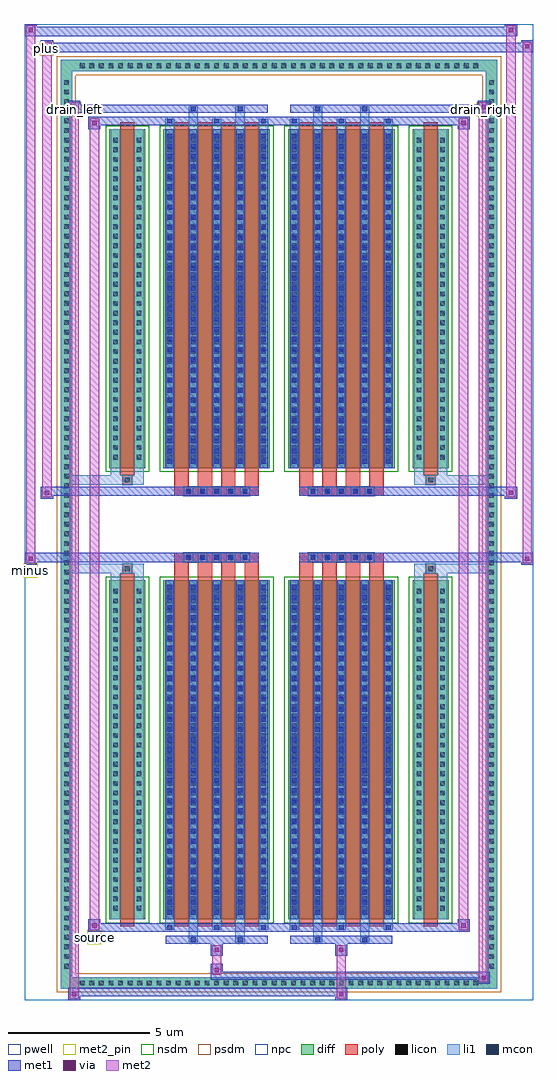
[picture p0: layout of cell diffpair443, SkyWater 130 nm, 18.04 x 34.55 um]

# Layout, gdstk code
import gdstk
lib = gdstk.Library(unit=1e-6, precision=5e-09)
def R(c, l, rs):  # rectangles x0, y0, x1, y1
    for r in rs: c.add(gdstk.rectangle(r[:2], r[2:], *l))
def A(c, l, x, y, w, h, nx, ny, dx, dy):  # array of equal rectangles
    R(c, l, [(x+i*dx, y+j*dy, x+i*dx+w, y+j*dy+h) for i in range(nx) for j in range(ny)])
def P(c, l, *ps):  # polygons
    for p in ps: c.add(gdstk.Polygon(p, *l))
pwell = (64, 44)
diff = (65, 20)
poly = (66, 20)
licon = (66, 44)
li1 = (67, 20)
mcon = (67, 44)
met1 = (68, 20)
via = (68, 44)
met2_pin = (69, 16)
met2 = (69, 20)
nsdm = (93, 44)
psdm = (94, 20)
npc = (95, 20)

diffpair443 = lib.new_cell('diffpair443')
R(diffpair443, pwell, [(-9,-16.84,9,17.71), (-6.32,-15.03,-0.01,-0.805), (0.01,-15.03,6.32,-0.805), (-6.32,0.805,-0.01,15.03), (0.01,0.805,6.32,15.03)])
A(diffpair443, diff, -7.175, -16.44, 0.41, 0.41, 42, 2, 0.34, 32.47)
A(diffpair443, diff, -7.73, -15.845, 0.41, 0.41, 1, 93, 0, 0.34)
A(diffpair443, diff, 7.32, -15.845, 0.41, 0.41, 1, 93, 0, 0.34)
R(diffpair443, diff, [(-7.175,-16.44,7.175,-16.03), (-7.73,-15.845,-7.32,15.845), (7.32,-15.845,7.73,15.845), (-6.01,-13.985,-4.73,-1.985), (-4.09,-13.985,-0.32,-1.985), (0.32,-13.985,4.09,-1.985), (4.73,-13.985,6.01,-1.985), (-6.01,1.985,-4.73,13.985), (-4.09,1.985,-0.32,13.985), (0.32,1.985,4.09,13.985), (4.73,1.985,6.01,13.985), (-7.175,16.03,7.175,16.44)])
P(diffpair443, diff, [(7.73,16.44),(-7.73,16.44),(-7.73,-16.03),(-7.32,-16.03),(-7.32,16.03),(7.32,16.03),(7.32,-16.03),(-7.32,-16.03),(-7.73,-16.03),(-7.73,-16.44),(7.73,-16.44)])
A(diffpair443, poly, -3.7, -14.235, 0.5, 12.5, 4, 2, 0.83, 15.97)
A(diffpair443, poly, 0.71, -14.235, 0.5, 12.5, 4, 2, 0.83, 15.97)
A(diffpair443, poly, -3.7, -1.735, 0.5, 0.4, 4, 2, 0.83, 3.07)
A(diffpair443, poly, 0.71, -1.735, 0.5, 0.4, 4, 2, 0.83, 3.07)
A(diffpair443, poly, -3.37, -1.335, 0.33, 0.33, 5, 2, 0.5, 2.34)
A(diffpair443, poly, 1.04, -1.335, 0.33, 0.33, 5, 2, 0.5, 2.34)
R(diffpair443, poly, [(-5.62,-14.235,-5.12,-1.735), (5.12,-14.235,5.62,-1.735), (-5.535,-1.735,-5.205,-1.405), (-5.535,-1.735,-5.205,-1.405), (5.205,-1.735,5.535,-1.405), (5.205,-1.735,5.535,-1.405), (-3.7,-1.335,-0.71,-1.005), (0.71,-1.335,3.7,-1.005), (-3.7,1.005,-0.71,1.335), (0.71,1.005,3.7,1.335), (-5.535,1.405,-5.205,1.735), (-5.535,1.405,-5.205,1.735), (5.205,1.405,5.535,1.735), (5.205,1.405,5.535,1.735), (-5.62,1.735,-5.12,14.235), (5.12,1.735,5.62,14.235)])
A(diffpair443, licon, -7.055, -16.32, 0.17, 0.17, 42, 2, 0.34, 32.47)
A(diffpair443, licon, -7.61, -15.725, 0.17, 0.17, 1, 93, 0, 0.34)
A(diffpair443, licon, 7.44, -15.725, 0.17, 0.17, 1, 93, 0, 0.34)
A(diffpair443, licon, -5.87, -13.68, 0.17, 0.17, 1, 34, 0, 0.34)
A(diffpair443, licon, -5.04, -13.68, 0.17, 0.17, 1, 34, 0, 0.34)
A(diffpair443, licon, -3.95, -13.68, 0.17, 0.17, 5, 34, 0.83, 0.34)
A(diffpair443, licon, 0.46, -13.68, 0.17, 0.17, 5, 34, 0.83, 0.34)
A(diffpair443, licon, 4.87, -13.68, 0.17, 0.17, 1, 34, 0, 0.34)
A(diffpair443, licon, 5.7, -13.68, 0.17, 0.17, 1, 34, 0, 0.34)
A(diffpair443, licon, -3.29, -1.255, 0.17, 0.17, 5, 2, 0.5, 2.34)
A(diffpair443, licon, 1.12, -1.255, 0.17, 0.17, 5, 2, 0.5, 2.34)
A(diffpair443, licon, -5.87, 2.29, 0.17, 0.17, 1, 34, 0, 0.34)
A(diffpair443, licon, -5.04, 2.29, 0.17, 0.17, 1, 34, 0, 0.34)
A(diffpair443, licon, -3.95, 2.29, 0.17, 0.17, 5, 34, 0.83, 0.34)
A(diffpair443, licon, 0.46, 2.29, 0.17, 0.17, 5, 34, 0.83, 0.34)
A(diffpair443, licon, 4.87, 2.29, 0.17, 0.17, 1, 34, 0, 0.34)
A(diffpair443, licon, 5.7, 2.29, 0.17, 0.17, 1, 34, 0, 0.34)
R(diffpair443, licon, [(-5.455,-1.655,-5.285,-1.485), (5.285,-1.655,5.455,-1.485), (-5.455,1.485,-5.285,1.655), (5.285,1.485,5.455,1.655)])
A(diffpair443, li1, -7.135, -16.4, 0.33, 0.33, 42, 2, 0.34, 32.47)
A(diffpair443, li1, -7.69, -15.805, 0.33, 0.33, 1, 93, 0, 0.34)
A(diffpair443, li1, 7.36, -15.805, 0.33, 0.33, 1, 93, 0, 0.34)
A(diffpair443, li1, -4.03, -14.36, 0.33, 0.375, 3, 2, 1.66, 28.345)
A(diffpair443, li1, -3.95, -14.36, 0.17, 0.17, 3, 2, 1.66, 28.55)
A(diffpair443, li1, 0.38, -14.36, 0.33, 0.375, 3, 2, 1.66, 28.345)
A(diffpair443, li1, 0.46, -14.36, 0.17, 0.17, 3, 2, 1.66, 28.55)
A(diffpair443, li1, -4.03, -13.985, 0.33, 12, 5, 2, 0.83, 15.97)
A(diffpair443, li1, 0.38, -13.985, 0.33, 12, 5, 2, 0.83, 15.97)
A(diffpair443, li1, -3.95, -13.83, 0.17, 0.17, 5, 33, 0.83, 0.36)
A(diffpair443, li1, -3.95, -13.83, 0.17, 11.69, 5, 2, 0.83, 15.97)
A(diffpair443, li1, 0.46, -13.83, 0.17, 0.17, 5, 33, 0.83, 0.36)
A(diffpair443, li1, 0.46, -13.83, 0.17, 11.69, 5, 2, 0.83, 15.97)
A(diffpair443, li1, -5.95, -13.76, 0.33, 0.33, 1, 34, 0, 0.34)
A(diffpair443, li1, -5.12, -13.76, 0.33, 0.33, 1, 34, 0, 0.34)
A(diffpair443, li1, -4.03, -13.76, 0.33, 0.33, 5, 34, 0.83, 0.34)
A(diffpair443, li1, 0.38, -13.76, 0.33, 0.33, 5, 34, 0.83, 0.34)
A(diffpair443, li1, 4.79, -13.76, 0.33, 0.33, 1, 34, 0, 0.34)
A(diffpair443, li1, 5.62, -13.76, 0.33, 0.33, 1, 34, 0, 0.34)
A(diffpair443, li1, -3.37, -1.335, 0.33, 0.33, 5, 2, 0.5, 2.34)
A(diffpair443, li1, 1.04, -1.335, 0.33, 0.33, 5, 2, 0.5, 2.34)
A(diffpair443, li1, -3.95, 2.14, 0.17, 0.17, 5, 33, 0.83, 0.36)
A(diffpair443, li1, 0.46, 2.14, 0.17, 0.17, 5, 33, 0.83, 0.36)
A(diffpair443, li1, -5.95, 2.21, 0.33, 0.33, 1, 34, 0, 0.34)
A(diffpair443, li1, -5.12, 2.21, 0.33, 0.33, 1, 34, 0, 0.34)
A(diffpair443, li1, -4.03, 2.21, 0.33, 0.33, 5, 34, 0.83, 0.34)
A(diffpair443, li1, 0.38, 2.21, 0.33, 0.33, 5, 34, 0.83, 0.34)
A(diffpair443, li1, 4.79, 2.21, 0.33, 0.33, 1, 34, 0, 0.34)
A(diffpair443, li1, 5.62, 2.21, 0.33, 0.33, 1, 34, 0, 0.34)
R(diffpair443, li1, [(-7.73,-16.44,-7.32,-16.03), (-7.73,-16.44,-7.32,-16.03), (-7.32,-16.44,7.32,-16.03), (7.32,-16.44,7.73,-16.03), (7.32,-16.44,7.73,-16.03), (-7.73,-16.03,-7.32,16.03), (7.32,-16.03,7.73,16.03), (-3.2,-14.79,-2.87,-13.985), (-3.12,-14.79,-2.95,-14.62), (-1.54,-14.79,-1.21,-13.985), (-1.46,-14.79,-1.29,-14.62), (1.21,-14.79,1.54,-13.985), (1.29,-14.79,1.46,-14.62), (2.87,-14.79,3.2,-13.985), (2.95,-14.79,3.12,-14.62), (-5.95,-13.985,-5.62,-1.985), (-5.12,-13.985,-4.79,-1.985), (4.79,-13.985,5.12,-1.985), (5.62,-13.985,5.95,-1.985), (-5.95,-1.985,-5.62,-1.405), (-5.12,-1.985,-4.79,-1.405), (4.79,-1.985,5.12,-1.405), (5.62,-1.985,5.95,-1.405), (-7.73,-1.735,-5.535,-1.405), (-5.95,-1.735,-5.535,-1.405), (-5.535,-1.735,-5.205,-1.405), (-5.205,-1.735,-4.79,-1.405), (4.79,-1.735,5.205,-1.405), (5.205,-1.735,5.535,-1.405), (5.205,-1.735,7.73,-1.405), (5.535,-1.735,5.95,-1.405), (-7.73,1.405,-5.535,1.735), (-5.95,1.405,-5.535,1.735), (-5.95,1.405,-5.62,1.985), (-5.535,1.405,-5.205,1.735), (-5.205,1.405,-4.79,1.735), (-5.12,1.405,-4.79,1.985), (4.79,1.405,5.205,1.735), (4.79,1.405,5.12,1.985), (5.205,1.405,5.535,1.735), (5.205,1.405,7.73,1.735), (5.535,1.405,5.95,1.735), (5.62,1.405,5.95,1.985), (-5.95,1.985,-5.62,13.985), (-5.12,1.985,-4.79,13.985), (4.79,1.985,5.12,13.985), (5.62,1.985,5.95,13.985), (-3.2,13.985,-2.87,14.79), (-1.54,13.985,-1.21,14.79), (1.21,13.985,1.54,14.79), (2.87,13.985,3.2,14.79), (-3.12,14.62,-2.95,14.79), (-1.46,14.62,-1.29,14.79), (1.29,14.62,1.46,14.79), (2.95,14.62,3.12,14.79), (-7.73,16.03,-7.32,16.44), (-7.73,16.03,-7.32,16.44), (-7.32,16.03,7.32,16.44), (7.32,16.03,7.73,16.44), (7.32,16.03,7.73,16.44)])
A(diffpair443, mcon, -3.95, -14.36, 0.17, 0.17, 3, 2, 1.66, 28.55)
A(diffpair443, mcon, 0.46, -14.36, 0.17, 0.17, 3, 2, 1.66, 28.55)
A(diffpair443, mcon, -3.95, -13.83, 0.17, 0.17, 5, 33, 0.83, 0.36)
A(diffpair443, mcon, 0.46, -13.83, 0.17, 0.17, 5, 33, 0.83, 0.36)
A(diffpair443, mcon, -3.29, -1.255, 0.17, 0.17, 5, 2, 0.5, 2.34)
A(diffpair443, mcon, 1.12, -1.255, 0.17, 0.17, 5, 2, 0.5, 2.34)
A(diffpair443, mcon, -3.95, 2.14, 0.17, 0.17, 5, 33, 0.83, 0.36)
A(diffpair443, mcon, 0.46, 2.14, 0.17, 0.17, 5, 33, 0.83, 0.36)
R(diffpair443, mcon, [(-3.12,-14.79,-2.95,-14.62), (-1.46,-14.79,-1.29,-14.62), (1.29,-14.79,1.46,-14.62), (2.95,-14.79,3.12,-14.62), (-3.12,14.62,-2.95,14.79), (-1.46,14.62,-1.29,14.79), (1.29,14.62,1.46,14.79), (2.95,14.62,3.12,14.79)])
A(diffpair443, met1, -4.01, -14.42, 0.29, 0.29, 3, 2, 1.66, 28.55)
A(diffpair443, met1, 0.4, -14.42, 0.29, 0.29, 3, 2, 1.66, 28.55)
A(diffpair443, met1, -4.01, -13.985, 0.29, 12, 5, 2, 0.83, 15.97)
A(diffpair443, met1, 0.4, -13.985, 0.29, 12, 5, 2, 0.83, 15.97)
A(diffpair443, met1, -4.01, -13.89, 0.29, 0.29, 5, 33, 0.83, 0.36)
A(diffpair443, met1, 0.4, -13.89, 0.29, 0.29, 5, 33, 0.83, 0.36)
A(diffpair443, met1, -3.35, -1.315, 0.29, 0.29, 5, 2, 0.5, 2.34)
A(diffpair443, met1, 1.06, -1.315, 0.29, 0.29, 5, 2, 0.5, 2.34)
A(diffpair443, met1, -4.01, 2.08, 0.29, 0.29, 5, 33, 0.83, 0.36)
A(diffpair443, met1, 0.4, 2.08, 0.29, 0.29, 5, 33, 0.83, 0.36)
R(diffpair443, met1, [(-7.46,-16.84,-7.03,-16.41), (1.99,-16.84,2.42,-16.41), (-7.46,-16.7,2.42,-16.41), (7.03,-16.27,7.46,-15.84), (-2.42,-16.13,7.46,-15.84), (-2.42,-15.99,-1.99,-15.56), (-2.42,-15.28,-1.99,-14.85), (1.99,-15.28,2.42,-14.85), (-4.01,-14.85,-0.4,-14.56), (-3.18,-14.85,-2.89,-14.56), (-1.52,-14.85,-1.23,-14.56), (0.4,-14.85,4.01,-14.56), (1.23,-14.85,1.52,-14.56), (2.89,-14.85,3.18,-14.56), (-6.75,-14.42,-6.32,-13.99), (-6.75,-14.42,-4.01,-14.13), (-4.01,-14.42,-0.4,-14.13), (-0.4,-14.42,0.4,-14.13), (0.4,-14.42,4.01,-14.13), (4.01,-14.42,6.75,-14.13), (6.32,-14.42,6.75,-13.99), (-9,-1.435,-8.57,-1.005), (8.57,-1.435,9,-1.005), (-9,-1.335,-0.71,-1.005), (-3.7,-1.335,-0.71,-1.005), (0.71,-1.335,3.7,-1.005), (0.71,-1.335,9,-1.005), (-8.43,0.905,-8,1.335), (8,0.905,8.43,1.335), (-8.43,1.005,-3.7,1.335), (-3.7,1.005,-0.71,1.335), (0.71,1.005,3.7,1.335), (3.7,1.005,8.43,1.335), (-6.75,13.99,-6.32,14.42), (6.32,13.99,6.75,14.42), (-6.75,14.13,-4.01,14.42), (-4.01,14.13,-0.4,14.42), (-0.4,14.13,0.4,14.42), (0.4,14.13,4.01,14.42), (4.01,14.13,6.75,14.42), (-7.46,14.56,-7.03,14.99), (-7.46,14.56,-4.01,14.85), (-4.01,14.56,-0.4,14.85), (-3.18,14.56,-2.89,14.85), (-1.52,14.56,-1.23,14.85), (0.4,14.56,4.01,14.85), (1.23,14.56,1.52,14.85), (2.89,14.56,3.18,14.85), (4.01,14.56,7.46,14.85), (7.03,14.56,7.46,14.99), (-8.43,16.71,-8,17.14), (-8.43,16.71,-6.32,17.04), (-6.32,16.71,6.32,17.04), (6.32,16.71,9,17.04), (8.57,16.71,9,17.14), (-9,17.28,-8.57,17.71), (-9,17.28,-6.32,17.61), (-6.32,17.28,6.32,17.61), (6.32,17.28,8.43,17.61), (8,17.28,8.43,17.71)])
R(diffpair443, via, [(-7.32,-16.7,-7.17,-16.55), (2.13,-16.7,2.28,-16.55), (7.17,-16.13,7.32,-15.98), (-2.28,-15.85,-2.13,-15.7), (-2.28,-15.14,-2.13,-14.99), (2.13,-15.14,2.28,-14.99), (-6.61,-14.28,-6.46,-14.13), (6.46,-14.28,6.61,-14.13), (-8.86,-1.295,-8.71,-1.145), (8.71,-1.295,8.86,-1.145), (-8.29,1.045,-8.14,1.195), (8.14,1.045,8.29,1.195), (-6.61,14.13,-6.46,14.28), (6.46,14.13,6.61,14.28), (-7.32,14.7,-7.17,14.85), (7.17,14.7,7.32,14.85), (-8.29,16.85,-8.14,17), (8.71,16.85,8.86,17), (-8.86,17.42,-8.71,17.57), (8.14,17.42,8.29,17.57)])
R(diffpair443, met2_pin, [(-6.785,-14.87,-6.285,-14.37), (-9.035,-1.885,-8.535,-1.385), (-7.495,14.44,-6.995,14.94), (6.995,14.44,7.495,14.94), (-8.465,16.59,-7.965,17.09)])
R(diffpair443, met2, [(-7.41,-16.79,-7.08,-16.46), (-7.41,-16.79,-7.08,14.94), (2.04,-16.79,2.37,-16.46), (2.04,-16.46,2.37,-15.23), (7.08,-16.22,7.41,-15.89), (7.08,-16.22,7.41,14.94), (-2.37,-15.94,-2.04,-15.61), (-2.37,-15.61,-2.04,-15.23), (-2.37,-15.23,-2.04,-14.9), (2.04,-15.23,2.37,-14.9), (-6.7,-14.37,-6.37,-14.04), (-6.7,-14.37,-6.37,14.37), (6.37,-14.37,6.7,-14.04), (6.37,-14.37,6.7,14.37), (-8.95,-1.385,-8.62,-1.055), (-8.95,-1.385,-8.62,17.66), (8.62,-1.385,8.95,-1.055), (8.62,-1.385,8.95,17.09), (-8.38,0.955,-8.05,1.285), (-8.38,0.955,-8.05,17.09), (8.05,0.955,8.38,1.285), (8.05,0.955,8.38,17.66), (-6.7,14.04,-6.37,14.37), (6.37,14.04,6.7,14.37), (-7.41,14.61,-7.08,14.94), (7.08,14.61,7.41,14.94), (-8.38,16.76,-8.05,17.09), (8.62,16.76,8.95,17.09), (-8.95,17.33,-8.62,17.66), (8.05,17.33,8.38,17.66)])
P(diffpair443, met2, [(8.95,-1.385),(8.95,-1.385),(8.95,-1.055),(8.95,-1.055)],
  [(8.95,16.76),(8.95,16.76),(8.95,17.09),(8.95,17.09)],
  [(-8.62,-1.385),(-8.62,-1.385),(-8.62,-1.055),(-8.62,-1.055)],
  [(-8.62,17.33),(-8.62,17.33),(-8.62,17.66),(-8.62,17.66)],
  [(8.38,0.955),(8.38,0.955),(8.38,1.285),(8.38,1.285)],
  [(8.38,17.33),(8.38,17.33),(8.38,17.66),(8.38,17.66)],
  [(-8.05,0.955),(-8.05,0.955),(-8.05,1.285),(-8.05,1.285)],
  [(-8.05,16.76),(-8.05,16.76),(-8.05,17.09),(-8.05,17.09)],
  [(-7.08,-16.79),(-7.08,-16.79),(-7.08,-16.46),(-7.08,-16.46)],
  [(-7.08,14.61),(-7.08,14.61),(-7.08,14.94),(-7.08,14.94)],
  [(7.41,-16.22),(7.41,-16.22),(7.41,-15.89),(7.41,-15.89)],
  [(7.41,14.61),(7.41,14.61),(7.41,14.94),(7.41,14.94)],
  [(-6.37,-14.37),(-6.37,-14.37),(-6.37,-14.04),(-6.37,-14.04)],
  [(-6.37,14.04),(-6.37,14.04),(-6.37,14.37),(-6.37,14.37)],
  [(6.7,-14.37),(6.7,-14.37),(6.7,-14.04),(6.7,-14.04)],
  [(6.7,14.04),(6.7,14.04),(6.7,14.37),(6.7,14.37)])
R(diffpair443, nsdm, [(-6.14,-14.115,-4.6,-1.855), (-4.22,-14.115,-0.19,-1.855), (0.19,-14.115,4.22,-1.855), (4.6,-14.115,6.14,-1.855), (-6.14,1.855,-4.6,14.115), (-4.22,1.855,-0.19,14.115), (0.19,1.855,4.22,14.115), (4.6,1.855,6.14,14.115)])
P(diffpair443, psdm, [(7.86,16.57),(-7.86,16.57),(-7.86,-15.9),(-7.19,-15.9),(-7.19,15.9),(7.19,15.9),(7.19,-15.9),(-7.19,-15.9),(-7.86,-15.9),(-7.86,-16.57),(7.86,-16.57)])
A(diffpair443, npc, -3.39, -1.355, 0.37, 0.37, 5, 2, 0.5, 2.34)
A(diffpair443, npc, 1.02, -1.355, 0.37, 0.37, 5, 2, 0.5, 2.34)
R(diffpair443, npc, [(-5.555,-1.755,-5.185,-1.385), (5.185,-1.755,5.555,-1.385), (-3.39,-1.355,-2.52,-0.985), (-3.39,-1.355,-2.52,-0.985), (-2.89,-1.355,-2.02,-0.985), (-2.89,-1.355,-2.02,-0.985), (-2.39,-1.355,-1.52,-0.985), (-2.39,-1.355,-1.52,-0.985), (-1.89,-1.355,-1.02,-0.985), (-1.89,-1.355,-1.02,-0.985), (1.02,-1.355,1.89,-0.985), (1.02,-1.355,1.89,-0.985), (1.52,-1.355,2.39,-0.985), (1.52,-1.355,2.39,-0.985), (2.02,-1.355,2.89,-0.985), (2.02,-1.355,2.89,-0.985), (2.52,-1.355,3.39,-0.985), (2.52,-1.355,3.39,-0.985), (-3.39,0.985,-2.52,1.355), (-3.39,0.985,-2.52,1.355), (-2.89,0.985,-2.02,1.355), (-2.89,0.985,-2.02,1.355), (-2.39,0.985,-1.52,1.355), (-2.39,0.985,-1.52,1.355), (-1.89,0.985,-1.02,1.355), (-1.89,0.985,-1.02,1.355), (1.02,0.985,1.89,1.355), (1.02,0.985,1.89,1.355), (1.52,0.985,2.39,1.355), (1.52,0.985,2.39,1.355), (2.02,0.985,2.89,1.355), (2.02,0.985,2.89,1.355), (2.52,0.985,3.39,1.355), (2.52,0.985,3.39,1.355), (-5.555,1.385,-5.185,1.755), (5.185,1.385,5.555,1.755)])
diffpair443.add(gdstk.Label('minus', (-8.785,-1.635), layer=69, texttype=5))
diffpair443.add(gdstk.Label('drain_right', (7.245,14.69), layer=69, texttype=5))
diffpair443.add(gdstk.Label('drain_left', (-7.245,14.69), layer=69, texttype=5))
diffpair443.add(gdstk.Label('source', (-6.535,-14.62), layer=69, texttype=5))
diffpair443.add(gdstk.Label('plus', (-8.215,16.84), layer=69, texttype=5))

lib.write_gds('diffpair443.gds')
